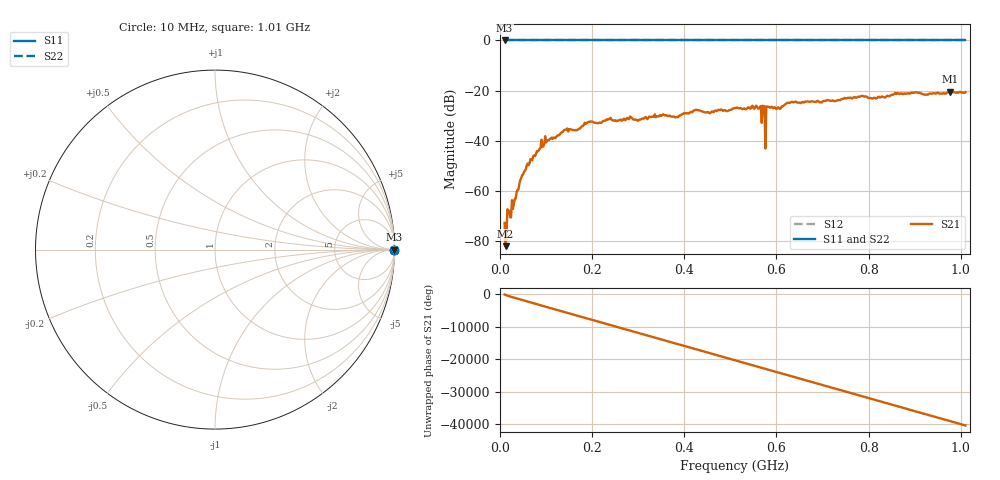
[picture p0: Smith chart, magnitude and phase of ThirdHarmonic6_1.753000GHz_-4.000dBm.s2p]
! 8/16/2025 9:08:49 PM
! C:\ANRITSUVNA\TEMP\TEMP.S2P
! CHANNEL.1
! TR.MEASUREMENT
! RAW.DATA
! RF.CORRECTION.OFF
! AVERAGING.OFF
! IF.BANDWIDTH: 5KHZ
! SWEEPTYPE:  FREQ.SWEEP(Linear)
! Reference Plane Port Info
! PORT:  PORT1  PORT2
! DISTANCE:  0  m  0  m
! TIME:  0  s  0  s
! PHASE.OFFSET:  0  deg.  0  deg.
! LOSS:  0  dB  0  dB
! REF.LOSS:  0  dB  0  dB
! REF.FREQ:  0  Hz  0  Hz
! Power Info
! POWER:  -20  dBm  -20  dBm
! EFF.POWER:  -20  dBm  -20  dBm
! SOURCE.ATTEN:  0  dB  0  dB
! TEST.ATTEN:  0  dB  0  dB
# GHZ S RI R 50.0
! FREQ.GHZ  S11RE  S11IM  S21RE  S21IM  S12RE  S12IM  S22RE  S22IM
!; PortSelection: Port_12
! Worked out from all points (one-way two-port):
!   501 points, 10 MHz to 1.01 GHz, reference 50 ohm
!   highest |S21| = -20.39 dB at 976 MHz (marker M1); lowest = -82.0 dB at 12 MHz (marker M2)
!   lowest |S11| = 0.0 dB at 10 MHz (marker M3)
!   |S11| at or under -10 dB: nowhere
!   |S22| runs from 0.0 to 0.0 dB; largest |S21 - S12| = 1.1
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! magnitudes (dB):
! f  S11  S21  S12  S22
! 10 MHz  0.0  -72.7  0.0  0.0
! 12 MHz  0.0  -82.0  0.0  0.0
! 48 MHz  0.0  -53.7  0.0  0.0
! 94 MHz  0.0  -42.2  0.0  0.0
! 142 MHz  0.0  -35.6  0.0  0.0
! 178 MHz  0.0  -34.2  0.0  0.0
! 236 MHz  0.0  -31.3  0.0  0.0
! 300 MHz  0.0  -32.0  0.0  0.0
! 344 MHz  0.0  -30.3  0.0  0.0
! 384 MHz  0.0  -30.4  0.0  0.0
! 424 MHz  0.0  -27.8  0.0  0.0
! 454 MHz  0.0  -28.9  0.0  0.0
! 510 MHz  0.0  -26.9  0.0  0.0
! 562 MHz  0.0  -27.1  0.0  0.0
! 570 MHz  0.0  -26.0  0.0  0.0
! 572 MHz  0.0  -26.3  0.0  0.0
! 580 MHz  0.0  -26.5  0.0  0.0
! 582 MHz  0.0  -26.4  0.0  0.0
! 678 MHz  0.0  -24.3  0.0  0.0
! 844 MHz  0.0  -22.3  0.0  0.0
! 976 MHz  0.0  -20.4  0.0  0.0
! 1.01 GHz  0.0  -20.6  0.0  0.0
